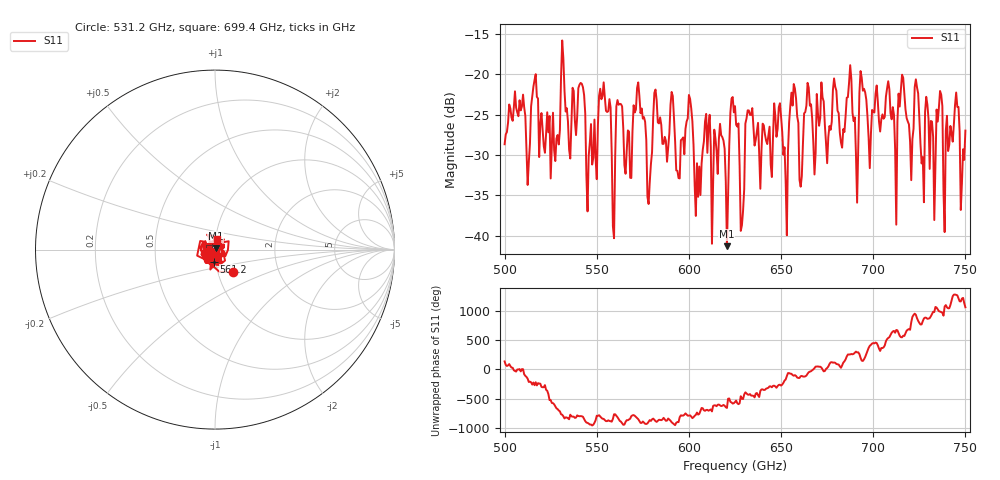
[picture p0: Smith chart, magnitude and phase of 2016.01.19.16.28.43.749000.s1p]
!Created with skrf (http://scikit-rf.org).
# GHz S RI R 50.0
!freq ReS11 ImS11
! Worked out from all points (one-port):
!   401 points, 500 GHz to 750 GHz, reference 50 ohm
!   lowest |S11| = -41.3 dB at 620.6 GHz (marker M1), VSWR 1.02, Z = 50.4 + j0.782 ohm
!   |S11| at or under -10 dB: start of sweep to end of sweep
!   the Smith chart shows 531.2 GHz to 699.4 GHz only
!   S11 on the Smith chart (normalised r, x): 531.2 GHz: 1.18, -0.31; 561.2 GHz: 0.98, -0.14; 699.4 GHz: 1.01, +0.12
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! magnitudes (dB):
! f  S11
! 500 GHz  -28.7
! 516.2 GHz  -20.7
! 528.1 GHz  -27.9
! 531.2 GHz  -15.8
! 541.9 GHz  -21.2
! 545.6 GHz  -30.1
! 553.1 GHz  -22.7
! 559.4 GHz  -40.3
! 561.2 GHz  -23.2
! 562.5 GHz  -23.6
! 578.8 GHz  -33.4
! 590.6 GHz  -22.2
! 593.8 GHz  -32.0
! 600.6 GHz  -23.0
! 604.4 GHz  -31.0
! 610 GHz  -29.7
! 620.6 GHz  -41.3
! 625 GHz  -23.9
! 628.8 GHz  -38.7
! 631.9 GHz  -24.5
! 652.5 GHz  -33.4
! 656.2 GHz  -23.9
! 660.6 GHz  -33.9
! 663.8 GHz  -23.9
! 687.5 GHz  -18.9
! 699.4 GHz  -24.4
! 718.8 GHz  -25.8
! 750 GHz  -27.0
